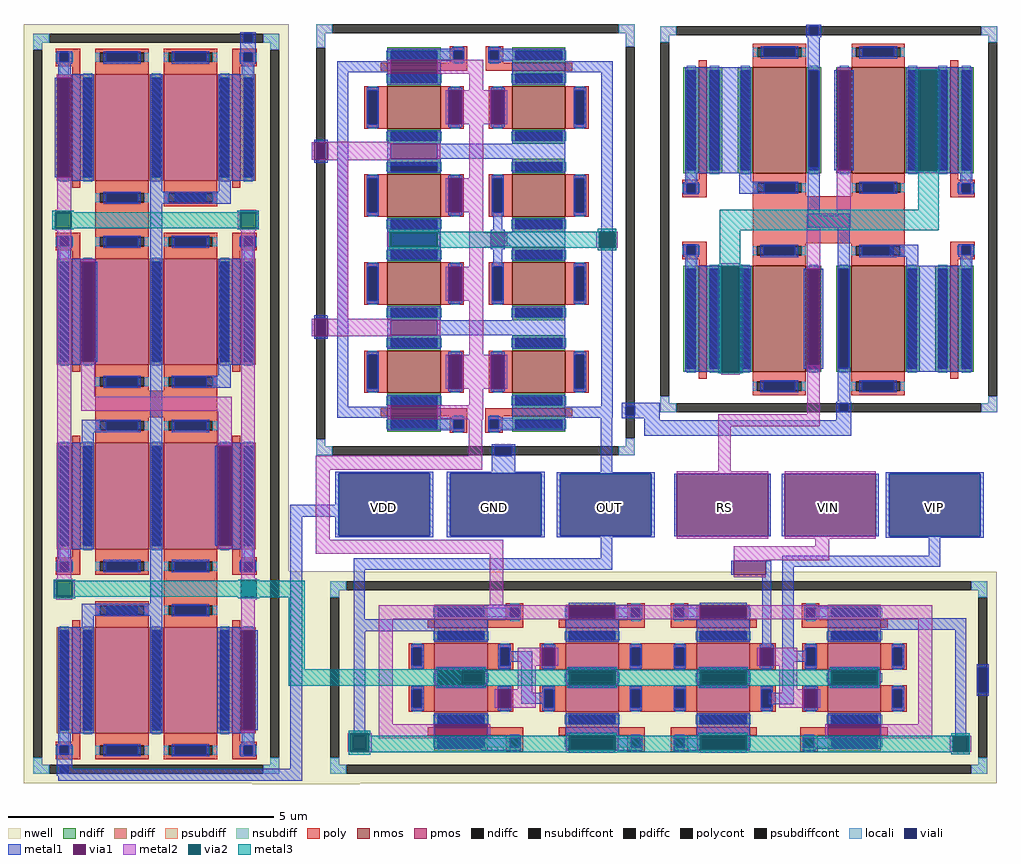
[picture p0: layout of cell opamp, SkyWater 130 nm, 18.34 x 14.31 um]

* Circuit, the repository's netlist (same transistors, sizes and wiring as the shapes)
* NGSPICE file created from opamp.ext - technology: sky130A

.subckt sky130_fd_pr__nfet_01v8_8UMB6F a_n344_n200# a_286_n200# a_86_n288# a_n86_n200#
+ a_n286_n288# a_28_n200# VSUBS
X0 a_n86_n200# a_n286_n288# a_n344_n200# VSUBS sky130_fd_pr__nfet_01v8 ad=0.58 pd=4.58 as=0.58 ps=4.58 w=2 l=1
X1 a_286_n200# a_86_n288# a_28_n200# VSUBS sky130_fd_pr__nfet_01v8 ad=0.58 pd=4.58 as=0.58 ps=4.58 w=2 l=1
.ends

.subckt sky130_fd_pr__nfet_01v8_TC9PLT a_15_n200# a_n15_n226# a_n73_n200# VSUBS
X0 a_15_n200# a_n15_n226# a_n73_n200# VSUBS sky130_fd_pr__nfet_01v8 ad=0.58 pd=4.58 as=0.58 ps=4.58 w=2 l=0.15
.ends

.subckt nmosrs GND D3 RS D4
Xsky130_fd_pr__nfet_01v8_8UMB6F_0 D4 D3 D3 RS D3 GND GND sky130_fd_pr__nfet_01v8_8UMB6F
Xsky130_fd_pr__nfet_01v8_8UMB6F_1 D3 D4 D3 GND D3 RS GND sky130_fd_pr__nfet_01v8_8UMB6F
Xsky130_fd_pr__nfet_01v8_TC9PLT_0 D4 D4 D4 GND sky130_fd_pr__nfet_01v8_TC9PLT
Xsky130_fd_pr__nfet_01v8_TC9PLT_2 D3 D3 D3 GND sky130_fd_pr__nfet_01v8_TC9PLT
Xsky130_fd_pr__nfet_01v8_TC9PLT_3 D3 D3 D3 GND sky130_fd_pr__nfet_01v8_TC9PLT
Xsky130_fd_pr__nfet_01v8_TC9PLT_4 D4 D4 D4 GND sky130_fd_pr__nfet_01v8_TC9PLT
.ends

.subckt sky130_fd_pr__pfet_01v8_BHVYY6 w_n223_n200# a_n29_n100# a_n187_n100# a_29_n197#
+ a_n129_n197# a_129_n100#
X0 a_129_n100# a_29_n197# a_n29_n100# w_n223_n200# sky130_fd_pr__pfet_01v8 ad=0.29 pd=2.58 as=0.145 ps=1.29 w=1 l=0.5
X1 a_n29_n100# a_n129_n197# a_n187_n100# w_n223_n200# sky130_fd_pr__pfet_01v8 ad=0.145 pd=1.29 as=0.29 ps=2.58 w=1 l=0.5
.ends

.subckt sky130_fd_pr__pfet_01v8_2XUZHN a_n73_n100# w_n109_n162# a_15_n100# a_n15_n126#
X0 a_15_n100# a_n15_n126# a_n73_n100# w_n109_n162# sky130_fd_pr__pfet_01v8 ad=0.29 pd=2.58 as=0.29 ps=2.58 w=1 l=0.15
.ends

.subckt pmos_dif VDD D6 OUT VIP D5 VIN
Xsky130_fd_pr__pfet_01v8_BHVYY6_2 VDD D5 OUT VIN VIP D6 sky130_fd_pr__pfet_01v8_BHVYY6
Xsky130_fd_pr__pfet_01v8_BHVYY6_3 VDD D5 D6 VIP VIN OUT sky130_fd_pr__pfet_01v8_BHVYY6
Xsky130_fd_pr__pfet_01v8_2XUZHN_0 OUT VDD OUT OUT sky130_fd_pr__pfet_01v8_2XUZHN
Xsky130_fd_pr__pfet_01v8_2XUZHN_1 D6 VDD D6 D6 sky130_fd_pr__pfet_01v8_2XUZHN
Xsky130_fd_pr__pfet_01v8_2XUZHN_2 D6 VDD D6 D6 sky130_fd_pr__pfet_01v8_2XUZHN
Xsky130_fd_pr__pfet_01v8_2XUZHN_3 OUT VDD OUT OUT sky130_fd_pr__pfet_01v8_2XUZHN
Xsky130_fd_pr__pfet_01v8_2XUZHN_4 D6 VDD D6 D6 sky130_fd_pr__pfet_01v8_2XUZHN
Xsky130_fd_pr__pfet_01v8_2XUZHN_5 OUT VDD OUT OUT sky130_fd_pr__pfet_01v8_2XUZHN
Xsky130_fd_pr__pfet_01v8_2XUZHN_6 OUT VDD OUT OUT sky130_fd_pr__pfet_01v8_2XUZHN
Xsky130_fd_pr__pfet_01v8_2XUZHN_7 D6 VDD D6 D6 sky130_fd_pr__pfet_01v8_2XUZHN
Xsky130_fd_pr__pfet_01v8_BHVYY6_0 VDD D5 OUT VIN VIP D6 sky130_fd_pr__pfet_01v8_BHVYY6
Xsky130_fd_pr__pfet_01v8_BHVYY6_1 VDD D5 D6 VIP VIN OUT sky130_fd_pr__pfet_01v8_BHVYY6
.ends

.subckt sky130_fd_pr__pfet_01v8_2ZH9AN a_15_n200# a_n15_n226# a_n73_n200# w_n109_n262#
X0 a_15_n200# a_n15_n226# a_n73_n200# w_n109_n262# sky130_fd_pr__pfet_01v8 ad=0.58 pd=4.58 as=0.58 ps=4.58 w=2 l=0.15
.ends

.subckt sky130_fd_pr__pfet_01v8_SDE6B7 a_29_n297# a_n287_n200# a_n229_n297# a_229_n200#
+ a_n29_n200# w_n323_n300#
X0 a_229_n200# a_29_n297# a_n29_n200# w_n323_n300# sky130_fd_pr__pfet_01v8 ad=0.58 pd=4.58 as=0.29 ps=2.29 w=2 l=1
X1 a_n29_n200# a_n229_n297# a_n287_n200# w_n323_n300# sky130_fd_pr__pfet_01v8 ad=0.29 pd=2.29 as=0.58 ps=4.58 w=2 l=1
.ends

.subckt pmoscs VDD D1 D2 D5
Xsky130_fd_pr__pfet_01v8_2ZH9AN_0 D1 D1 D1 VDD sky130_fd_pr__pfet_01v8_2ZH9AN
Xsky130_fd_pr__pfet_01v8_2ZH9AN_1 VDD VDD VDD VDD sky130_fd_pr__pfet_01v8_2ZH9AN
Xsky130_fd_pr__pfet_01v8_2ZH9AN_2 D5 D5 D5 VDD sky130_fd_pr__pfet_01v8_2ZH9AN
Xsky130_fd_pr__pfet_01v8_2ZH9AN_3 D1 D1 D1 VDD sky130_fd_pr__pfet_01v8_2ZH9AN
Xsky130_fd_pr__pfet_01v8_2ZH9AN_4 D2 D2 D2 VDD sky130_fd_pr__pfet_01v8_2ZH9AN
Xsky130_fd_pr__pfet_01v8_2ZH9AN_5 D2 D2 D2 VDD sky130_fd_pr__pfet_01v8_2ZH9AN
Xsky130_fd_pr__pfet_01v8_2ZH9AN_6 D5 D5 D5 VDD sky130_fd_pr__pfet_01v8_2ZH9AN
Xsky130_fd_pr__pfet_01v8_2ZH9AN_7 VDD VDD VDD VDD sky130_fd_pr__pfet_01v8_2ZH9AN
Xsky130_fd_pr__pfet_01v8_SDE6B7_0 VDD D5 D2 VDD VDD VDD sky130_fd_pr__pfet_01v8_SDE6B7
Xsky130_fd_pr__pfet_01v8_SDE6B7_1 D2 D1 D2 D2 VDD VDD sky130_fd_pr__pfet_01v8_SDE6B7
Xsky130_fd_pr__pfet_01v8_SDE6B7_2 D2 D2 D2 D1 VDD VDD sky130_fd_pr__pfet_01v8_SDE6B7
Xsky130_fd_pr__pfet_01v8_SDE6B7_3 D2 VDD VDD D5 VDD VDD sky130_fd_pr__pfet_01v8_SDE6B7
.ends

.subckt sky130_fd_pr__nfet_01v8_6H9P4D a_n73_n100# a_15_n100# a_n15_n126# VSUBS
X0 a_15_n100# a_n15_n126# a_n73_n100# VSUBS sky130_fd_pr__nfet_01v8 ad=0.29 pd=2.58 as=0.29 ps=2.58 w=1 l=0.15
.ends

.subckt sky130_fd_pr__nfet_01v8_DB328X a_360_n100# a_418_n188# a_n578_n188# a_n304_n100#
+ a_28_n100# a_n418_n100# a_246_n100# a_n636_n100# a_578_n100# a_86_n188# a_n246_n188#
+ a_n86_n100# VSUBS
X0 a_578_n100# a_418_n188# a_360_n100# VSUBS sky130_fd_pr__nfet_01v8 ad=0.29 pd=2.58 as=0.29 ps=2.58 w=1 l=0.8
X1 a_n418_n100# a_n578_n188# a_n636_n100# VSUBS sky130_fd_pr__nfet_01v8 ad=0.29 pd=2.58 as=0.29 ps=2.58 w=1 l=0.8
X2 a_n86_n100# a_n246_n188# a_n304_n100# VSUBS sky130_fd_pr__nfet_01v8 ad=0.29 pd=2.58 as=0.29 ps=2.58 w=1 l=0.8
X3 a_246_n100# a_86_n188# a_28_n100# VSUBS sky130_fd_pr__nfet_01v8 ad=0.29 pd=2.58 as=0.29 ps=2.58 w=1 l=0.8
.ends

.subckt nmos_dif D6 OUT GND
Xsky130_fd_pr__nfet_01v8_6H9P4D_0 D6 D6 D6 GND sky130_fd_pr__nfet_01v8_6H9P4D
Xsky130_fd_pr__nfet_01v8_6H9P4D_1 OUT OUT OUT GND sky130_fd_pr__nfet_01v8_6H9P4D
Xsky130_fd_pr__nfet_01v8_6H9P4D_2 OUT OUT OUT GND sky130_fd_pr__nfet_01v8_6H9P4D
Xsky130_fd_pr__nfet_01v8_6H9P4D_3 D6 D6 D6 GND sky130_fd_pr__nfet_01v8_6H9P4D
Xsky130_fd_pr__nfet_01v8_DB328X_0 GND D6 D6 GND D6 GND GND OUT OUT D6 D6 D6 GND sky130_fd_pr__nfet_01v8_DB328X
Xsky130_fd_pr__nfet_01v8_DB328X_1 GND D6 D6 GND m1_556_88# GND GND D6 D6 D6 D6 m1_556_88#
+ GND sky130_fd_pr__nfet_01v8_DB328X
.ends

.subckt opamp VDD GND OUT RS VIN VIP
Xnmosrs_0 GND nmosrs_0/D3 RS nmosrs_0/D4 nmosrs
Xpmos_dif_0 VDD pmos_dif_0/D6 OUT VIP pmoscs_0/D5 VIN pmos_dif
Xpmoscs_0 VDD pmoscs_0/D1 pmoscs_0/D2 pmoscs_0/D5 pmoscs
Xnmos_dif_0 pmos_dif_0/D6 OUT GND nmos_dif
.ends

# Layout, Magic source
magic
tech sky130A
magscale 1 2
<< nwell >>
rect 845 -2214 1250 -1412
<< viali >>
rect 2252 -825 2286 -791
rect 1758 -977 1823 -941
rect 1170 -1278 1514 -1044
rect 1590 -1278 1934 -1044
rect 2004 -1279 2348 -1045
rect 3244 -1280 3588 -1046
<< metal1 >>
rect 2236 -791 2379 -778
rect 1746 -941 1835 -935
rect 1746 -977 1758 -941
rect 1823 -977 1835 -941
rect 1746 -1038 1835 -977
rect 1158 -1044 1526 -1038
rect 1158 -1162 1170 -1044
rect 988 -1207 1170 -1162
rect 114 -2157 159 -2099
rect 988 -2157 1033 -1207
rect 1158 -1278 1170 -1207
rect 1514 -1278 1526 -1044
rect 1158 -1284 1526 -1278
rect 1578 -1044 1946 -1038
rect 2158 -1039 2200 -793
rect 2236 -825 2252 -791
rect 2286 -825 2379 -791
rect 2236 -836 2379 -825
rect 2321 -844 2379 -836
rect 3044 -844 3102 -809
rect 2321 -902 3102 -844
rect 1578 -1278 1590 -1044
rect 1934 -1278 1946 -1044
rect 1578 -1284 1946 -1278
rect 1992 -1045 2360 -1039
rect 1992 -1279 2004 -1045
rect 2348 -1279 2360 -1045
rect 3232 -1046 3600 -1040
rect 1992 -1285 2360 -1279
rect 2434 -1280 2444 -1046
rect 2788 -1280 2798 -1046
rect 2840 -1280 2850 -1046
rect 3194 -1280 3204 -1046
rect 3232 -1280 3244 -1046
rect 3588 -1280 3600 -1046
rect 2158 -1364 2200 -1285
rect 3232 -1286 3600 -1280
rect 3394 -1354 3436 -1286
rect 1227 -1406 2200 -1364
rect 1227 -1740 1269 -1406
rect 2649 -1425 2659 -1373
rect 2779 -1425 2799 -1373
rect 2766 -1694 2799 -1425
rect 2842 -1396 3436 -1354
rect 2842 -1723 2884 -1396
rect 114 -2202 1033 -2157
<< via1 >>
rect 2444 -1280 2788 -1046
rect 2850 -1280 3194 -1046
rect 2659 -1425 2779 -1373
<< metal2 >>
rect 1660 -978 1712 -788
rect 2936 -821 2982 -637
rect 1084 -1030 1712 -978
rect 2601 -867 2982 -821
rect 1084 -1294 1136 -1030
rect 2601 -1036 2647 -867
rect 2444 -1046 2788 -1036
rect 2444 -1290 2788 -1280
rect 2850 -1046 3194 -1036
rect 2850 -1290 3194 -1280
rect 1084 -1346 1791 -1294
rect 2966 -1318 3019 -1290
rect 1739 -1582 1791 -1346
rect 2659 -1371 3019 -1318
rect 2659 -1373 2779 -1371
rect 2659 -1435 2779 -1425
<< metal3 >>
rect 789 -1510 1043 -1449
rect 982 -1782 1043 -1510
rect 982 -1843 1633 -1782
use nmos_dif  nmos_dif_0
transform 0 1 1266 -1 0 473
box -176 -198 1448 1019
use nmosrs  nmosrs_0
transform 1 0 2673 0 1 -1
box -292 -819 978 647
use pmos_dif  pmos_dif_0
transform 0 1 2419 -1 0 -1590
box -176 -1316 622 1231
use pmoscs  pmoscs_0
transform 1 0 160 0 1 -1522
box -176 -690 822 2170
<< labels >>
flabel via1 3016 -1171 3016 -1171 0 FreeSans 480 0 0 0 VIN
port 4 nsew
flabel viali 3416 -1173 3416 -1173 0 FreeSans 480 0 0 0 VIP
port 5 nsew
flabel via1 2624 -1172 2624 -1172 0 FreeSans 480 0 0 0 RS
port 3 nsew
flabel viali 2189 -1172 2189 -1172 0 FreeSans 480 0 0 0 OUT
port 2 nsew
flabel viali 1757 -1173 1757 -1173 0 FreeSans 480 0 0 0 GND
port 1 nsew
flabel viali 1339 -1173 1339 -1173 0 FreeSans 480 0 0 0 VDD
port 0 nsew
<< end >>

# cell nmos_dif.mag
magic
tech sky130A
magscale 1 2
<< psubdiff >>
rect -176 985 -90 1019
rect 1385 985 1448 1019
rect -176 959 -142 985
rect 1414 959 1448 985
rect -176 -146 -142 -120
rect 1414 -146 1448 -120
rect -176 -180 -87 -146
rect 1388 -180 1448 -146
<< psubdiffcont >>
rect -90 985 1385 1019
rect -176 -120 -142 959
rect 1414 -120 1448 959
rect -87 -180 1388 -146
<< poly >>
rect -30 524 0 532
rect -92 508 0 524
rect -92 474 -76 508
rect -42 474 0 508
rect -92 458 0 474
rect 1272 523 1302 558
rect 1272 507 1364 523
rect 1272 473 1314 507
rect 1348 473 1364 507
rect 1272 457 1364 473
rect -92 372 0 388
rect -92 338 -76 372
rect -42 338 0 372
rect -92 322 0 338
rect -30 314 0 322
rect 1272 372 1364 388
rect 1272 338 1314 372
rect 1348 338 1364 372
rect 1272 322 1364 338
rect 1272 314 1302 322
<< polycont >>
rect -76 474 -42 508
rect 1314 473 1348 507
rect -76 338 -42 372
rect 1314 338 1348 372
<< locali >>
rect -176 985 -90 1019
rect 1385 985 1448 1019
rect -176 959 -142 985
rect 1414 959 1448 985
rect -76 508 -42 562
rect -92 474 -76 508
rect -42 474 -26 508
rect 1314 507 1348 563
rect 1298 473 1314 507
rect 1348 473 1364 507
rect -92 338 -76 372
rect -42 338 -26 372
rect 1298 338 1314 372
rect 1348 338 1364 372
rect -76 282 -42 338
rect 1313 282 1348 338
rect -176 -146 -142 -120
rect 1414 -146 1448 -120
rect -176 -180 -87 -146
rect 1388 -180 1448 -146
<< viali >>
rect -76 474 -42 508
rect 1314 473 1348 507
rect -76 338 -42 372
rect 1314 338 1348 372
rect 933 -146 998 -144
rect 277 -180 329 -146
rect 933 -180 998 -146
rect 933 -181 998 -180
<< metal1 >>
rect 604 936 610 941
rect -36 894 610 936
rect -36 758 6 894
rect 604 889 610 894
rect 662 936 668 941
rect 662 894 1308 936
rect 662 889 668 894
rect 1266 758 1308 894
rect -82 558 52 758
rect 224 558 384 758
rect 556 558 716 758
rect 888 558 1048 758
rect 1220 558 1354 758
rect -82 514 -36 558
rect -88 508 -30 514
rect -88 474 -76 508
rect -42 474 -30 508
rect 64 477 74 529
rect 202 477 212 529
rect -88 468 -30 474
rect -88 372 -30 378
rect -88 338 -76 372
rect -42 338 -30 372
rect -88 332 -30 338
rect -82 288 -36 332
rect 64 317 74 369
rect 202 317 212 369
rect 275 288 331 558
rect 610 529 662 558
rect 600 520 610 529
rect 540 486 610 520
rect 600 477 610 486
rect 662 520 672 529
rect 662 486 735 520
rect 662 477 672 486
rect 396 317 406 369
rect 534 317 544 369
rect 728 317 738 369
rect 866 317 876 369
rect 940 288 996 558
rect 1060 477 1070 529
rect 1198 477 1208 529
rect 1308 513 1354 558
rect 1302 507 1360 513
rect 1302 473 1314 507
rect 1348 473 1360 507
rect 1302 467 1360 473
rect 1302 372 1360 378
rect 1060 317 1070 369
rect 1198 317 1208 369
rect 1302 338 1314 372
rect 1348 338 1360 372
rect 1302 332 1360 338
rect 1307 289 1354 332
rect -82 276 52 288
rect -82 100 -41 276
rect 11 100 52 276
rect -82 88 52 100
rect 224 276 358 288
rect 224 100 275 276
rect 332 100 358 276
rect 224 88 358 100
rect 556 88 716 288
rect 888 276 1048 288
rect 888 100 940 276
rect 996 100 1048 276
rect 888 88 1048 100
rect 1220 276 1354 289
rect 1220 100 1261 276
rect 1313 100 1354 276
rect 1220 88 1354 100
rect -36 -60 5 88
rect 1266 -60 1307 88
rect -36 -101 1307 -60
rect 260 -188 270 -136
rect 336 -188 346 -136
rect 924 -138 934 -136
rect 921 -144 934 -138
rect 921 -181 933 -144
rect 921 -187 934 -181
rect 924 -188 934 -187
rect 1000 -188 1010 -136
<< via1 >>
rect 610 889 662 941
rect 74 477 202 529
rect 74 317 202 369
rect 610 477 662 529
rect 406 317 534 369
rect 738 317 866 369
rect 1070 477 1198 529
rect 1070 317 1198 369
rect -41 100 11 276
rect 275 100 332 276
rect 940 100 996 276
rect 1261 100 1313 276
rect 270 -146 336 -136
rect 270 -180 277 -146
rect 277 -180 329 -146
rect 329 -180 336 -146
rect 270 -188 336 -180
rect 934 -144 1000 -136
rect 934 -181 998 -144
rect 998 -181 1000 -144
rect 934 -188 1000 -181
<< metal2 >>
rect 606 945 666 955
rect 606 875 666 885
rect 74 529 202 539
rect 74 448 202 477
rect 610 529 662 539
rect 1070 529 1198 539
rect 662 477 665 486
rect 610 448 665 477
rect 1070 448 1198 477
rect -41 396 1313 448
rect -41 276 11 396
rect 74 369 202 396
rect 74 307 202 317
rect 406 369 534 396
rect 406 307 534 317
rect 738 369 866 396
rect 738 307 866 317
rect 1070 369 1198 396
rect 1070 307 1198 317
rect 275 276 332 286
rect -41 90 11 100
rect 274 100 275 110
rect 274 95 332 100
rect 608 276 664 286
rect 940 276 996 286
rect 267 -60 337 95
rect 608 90 664 100
rect 934 100 940 105
rect 1261 276 1313 396
rect 996 100 1000 105
rect 934 -60 1000 100
rect 1261 90 1313 100
rect 267 -101 1000 -60
rect 267 -136 337 -101
rect 267 -167 270 -136
rect 336 -167 337 -136
rect 934 -136 1000 -101
rect 270 -198 336 -188
rect 934 -198 1000 -188
<< via2 >>
rect 606 941 666 945
rect 606 889 610 941
rect 610 889 662 941
rect 662 889 666 941
rect 606 885 666 889
rect 608 100 664 276
<< metal3 >>
rect 596 945 676 950
rect 596 885 606 945
rect 666 885 676 945
rect 596 880 676 885
rect 606 281 666 880
rect 598 276 674 281
rect 598 100 608 276
rect 664 100 674 276
rect 598 95 674 100
use sky130_fd_pr__nfet_01v8_6H9P4D  sky130_fd_pr__nfet_01v8_6H9P4D_0
transform 1 0 -15 0 1 188
box -73 -126 73 126
use sky130_fd_pr__nfet_01v8_6H9P4D  sky130_fd_pr__nfet_01v8_6H9P4D_1
transform 1 0 -15 0 1 658
box -73 -126 73 126
use sky130_fd_pr__nfet_01v8_6H9P4D  sky130_fd_pr__nfet_01v8_6H9P4D_2
transform 1 0 1287 0 1 658
box -73 -126 73 126
use sky130_fd_pr__nfet_01v8_6H9P4D  sky130_fd_pr__nfet_01v8_6H9P4D_3
transform 1 0 1287 0 1 188
box -73 -126 73 126
use sky130_fd_pr__nfet_01v8_DB328X  sky130_fd_pr__nfet_01v8_DB328X_0
transform 1 0 636 0 1 658
box -636 -188 636 188
use sky130_fd_pr__nfet_01v8_DB328X  sky130_fd_pr__nfet_01v8_DB328X_1
transform 1 0 636 0 1 188
box -636 -188 636 188
<< labels >>
flabel metal2 963 -23 963 -23 0 FreeSans 800 0 0 0 GND
port 2 nsew
flabel metal3 635 331 635 331 0 FreeSans 800 0 0 0 OUT
port 1 nsew
flabel metal2 133 428 133 428 0 FreeSans 800 0 0 0 D6
port 0 nsew
<< end >>

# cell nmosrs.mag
magic
tech sky130A
magscale 1 2
<< psubdiff >>
rect -292 607 -232 641
rect 918 607 978 641
rect -292 581 -258 607
rect 944 581 978 607
rect -292 -779 -258 -753
rect 944 -779 978 -753
rect -292 -813 -232 -779
rect 918 -813 978 -779
<< psubdiffcont >>
rect -232 607 918 641
rect -292 -753 -258 581
rect 944 -753 978 581
rect -232 -813 918 -779
<< poly >>
rect -146 64 -116 88
rect -208 48 -116 64
rect -208 14 -192 48
rect -158 14 -116 48
rect -208 -2 -116 14
rect 802 64 832 88
rect 802 48 894 64
rect 802 14 844 48
rect 878 14 894 48
rect -208 -186 -116 -170
rect 58 -175 630 2
rect 802 -2 894 14
rect -208 -220 -192 -186
rect -158 -220 -116 -186
rect -208 -236 -116 -220
rect -146 -260 -116 -236
rect 802 -186 894 -170
rect 802 -220 844 -186
rect 878 -220 894 -186
rect 802 -236 894 -220
rect 802 -260 832 -236
<< polycont >>
rect -192 14 -158 48
rect 844 14 878 48
rect -192 -220 -158 -186
rect 844 -220 878 -186
<< locali >>
rect -292 607 -232 641
rect 918 607 978 641
rect -292 581 -258 607
rect 944 581 978 607
rect -192 48 -158 88
rect 844 48 878 91
rect -208 14 -192 48
rect -158 14 -142 48
rect 828 14 844 48
rect 878 14 894 48
rect -208 -220 -192 -186
rect -158 -220 -142 -186
rect 828 -220 844 -186
rect 878 -220 894 -186
rect -192 -260 -158 -220
rect 844 -260 878 -220
rect -292 -779 -258 -753
rect 944 -779 978 -753
rect -292 -813 -232 -779
rect 918 -813 978 -779
<< viali >>
rect 270 607 304 641
rect -192 14 -158 48
rect 844 14 878 48
rect -192 -220 -158 -186
rect 844 -220 878 -186
rect 383 -813 417 -779
<< metal1 >>
rect 258 641 316 647
rect 258 607 270 641
rect 304 607 316 641
rect 258 601 316 607
rect -198 88 52 488
rect 264 476 309 601
rect -198 54 -152 88
rect 6 56 52 88
rect -204 48 -146 54
rect -204 14 -192 48
rect -158 14 -146 48
rect -204 8 -146 14
rect 6 10 103 56
rect 265 -73 310 111
rect 365 100 375 476
rect 427 100 437 476
rect 636 475 884 488
rect 636 98 680 475
rect 752 98 884 475
rect 636 88 884 98
rect 838 54 884 88
rect 832 48 890 54
rect 832 14 844 48
rect 878 14 890 48
rect 832 8 890 14
rect 377 -73 422 -64
rect 265 -118 422 -73
rect -204 -186 -146 -180
rect -204 -220 -192 -186
rect -158 -220 -146 -186
rect -204 -226 -146 -220
rect -198 -260 -152 -226
rect -198 -262 52 -260
rect -198 -660 -62 -262
rect -72 -661 -62 -660
rect 9 -660 52 -262
rect 377 -267 422 -118
rect 574 -227 681 -182
rect 832 -186 890 -180
rect 832 -220 844 -186
rect 878 -220 890 -186
rect 832 -226 890 -220
rect 636 -260 681 -227
rect 838 -260 884 -226
rect 250 -648 260 -272
rect 312 -648 322 -272
rect 9 -661 19 -660
rect 377 -773 424 -645
rect 636 -660 884 -260
rect 371 -779 429 -773
rect 371 -813 383 -779
rect 417 -813 429 -779
rect 371 -819 429 -813
<< via1 >>
rect 375 100 427 476
rect 680 98 752 475
rect -62 -661 9 -262
rect 260 -648 312 -272
<< metal2 >>
rect 375 476 427 486
rect 374 100 375 110
rect 374 90 427 100
rect 680 475 752 485
rect 374 -65 426 90
rect 680 88 752 98
rect 260 -117 426 -65
rect -62 -262 9 -252
rect 260 -272 312 -117
rect 260 -658 312 -648
rect -62 -671 9 -661
<< via2 >>
rect 680 98 752 475
rect -62 -269 7 -262
rect -62 -287 8 -269
rect -62 -661 9 -287
<< metal3 >>
rect 670 475 762 480
rect 670 98 680 475
rect 752 98 762 475
rect 670 93 762 98
rect 680 -50 757 93
rect -67 -127 757 -50
rect -67 -257 10 -127
rect -72 -262 19 -257
rect -72 -661 -62 -262
rect 7 -269 19 -262
rect 8 -287 19 -269
rect 9 -661 19 -287
rect -72 -666 19 -661
use sky130_fd_pr__nfet_01v8_8UMB6F  sky130_fd_pr__nfet_01v8_8UMB6F_0
transform 1 0 343 0 1 -460
box -344 -288 344 288
use sky130_fd_pr__nfet_01v8_8UMB6F  sky130_fd_pr__nfet_01v8_8UMB6F_1
transform 1 0 344 0 1 288
box -344 -288 344 288
use sky130_fd_pr__nfet_01v8_TC9PLT  sky130_fd_pr__nfet_01v8_TC9PLT_0
transform 1 0 817 0 1 288
box -73 -226 73 226
use sky130_fd_pr__nfet_01v8_TC9PLT  sky130_fd_pr__nfet_01v8_TC9PLT_2
transform 1 0 817 0 1 -460
box -73 -226 73 226
use sky130_fd_pr__nfet_01v8_TC9PLT  sky130_fd_pr__nfet_01v8_TC9PLT_3
transform 1 0 -131 0 1 288
box -73 -226 73 226
use sky130_fd_pr__nfet_01v8_TC9PLT  sky130_fd_pr__nfet_01v8_TC9PLT_4
transform 1 0 -131 0 1 -460
box -73 -226 73 226
<< labels >>
flabel metal1 s 285 579 285 579 0 FreeSans 800 0 0 0 GND
port 0 nsew
flabel metal3 s 721 47 721 47 0 FreeSans 800 0 0 0 D4
port 3 nsew
flabel metal2 s 396 47 396 47 0 FreeSans 800 0 0 0 RS
port 2 nsew
flabel metal1 s 27 46 27 46 0 FreeSans 800 0 0 0 D3
port 1 nsew
<< end >>

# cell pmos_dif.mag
magic
tech sky130A
magscale 1 2
<< nwell >>
rect -176 504 622 1231
rect -176 495 281 504
rect 323 495 622 504
rect -176 -1316 622 495
<< nsubdiff >>
rect -140 1161 -80 1195
rect 526 1161 586 1195
rect -140 1135 -106 1161
rect 552 1135 586 1161
rect -140 -1246 -106 -1220
rect 552 -1246 586 -1220
rect -140 -1280 -80 -1246
rect 526 -1280 586 -1246
<< nsubdiffcont >>
rect -80 1161 526 1195
rect -140 -1220 -106 1135
rect 552 -1220 586 1135
rect -80 -1280 526 -1246
<< poly >>
rect 6 562 36 595
rect -56 546 36 562
rect -56 512 -40 546
rect -6 512 36 546
rect -56 496 36 512
rect 410 556 440 585
rect 410 540 502 556
rect 410 506 452 540
rect 486 506 502 540
rect 410 490 502 506
rect 6 68 36 90
rect -56 52 36 68
rect -56 18 -40 52
rect -6 18 36 52
rect -56 2 36 18
rect 410 69 440 96
rect 410 53 502 69
rect 410 19 452 53
rect 486 19 502 53
rect -56 -112 36 -96
rect 94 -104 194 8
rect 252 -103 352 9
rect 410 3 502 19
rect -56 -146 -40 -112
rect -6 -146 36 -112
rect -56 -162 36 -146
rect 6 -194 36 -162
rect 410 -112 502 -96
rect 410 -146 452 -112
rect 486 -146 502 -112
rect 410 -162 502 -146
rect 410 -188 440 -162
rect -56 -569 36 -553
rect -56 -603 -40 -569
rect -6 -603 36 -569
rect -56 -619 36 -603
rect 6 -680 36 -619
rect 410 -569 502 -553
rect 410 -603 452 -569
rect 486 -603 502 -569
rect 410 -619 502 -603
rect 410 -672 441 -619
<< polycont >>
rect -40 512 -6 546
rect 452 506 486 540
rect -40 18 -6 52
rect 452 19 486 53
rect -40 -146 -6 -112
rect 452 -146 486 -112
rect -40 -603 -6 -569
rect 452 -603 486 -569
<< locali >>
rect -140 1161 -80 1195
rect 526 1161 586 1195
rect -140 1135 -106 1161
rect 552 1135 586 1161
rect -40 546 -6 595
rect -56 512 -40 546
rect -6 512 10 546
rect 452 540 486 609
rect 436 506 452 540
rect 486 506 502 540
rect -40 52 -6 107
rect 452 53 486 112
rect -56 18 -40 52
rect -6 18 10 52
rect 436 19 452 53
rect 486 19 502 53
rect -56 -146 -40 -112
rect -6 -146 10 -112
rect 436 -146 452 -112
rect 486 -146 502 -112
rect -40 -200 -6 -146
rect 452 -198 486 -146
rect -56 -603 -40 -569
rect -6 -603 10 -569
rect 436 -603 452 -569
rect 486 -603 502 -569
rect -40 -693 -6 -603
rect 452 -695 486 -603
rect -140 -1246 -106 -1220
rect 552 -1246 586 -1220
rect -140 -1280 -80 -1246
rect 526 -1280 586 -1246
<< viali >>
rect 185 1161 280 1195
rect -40 512 -6 546
rect 452 506 486 540
rect -40 18 -6 52
rect 452 19 486 53
rect -40 -146 -6 -112
rect 452 -146 486 -112
rect -40 -603 -6 -569
rect 452 -603 486 -569
<< metal1 >>
rect 173 1195 292 1201
rect 173 1161 185 1195
rect 280 1161 292 1195
rect 173 1155 292 1161
rect 440 1115 446 1120
rect 0 1073 446 1115
rect 0 794 42 1073
rect 440 1068 446 1073
rect 498 1068 504 1120
rect -46 594 88 794
rect 187 606 197 782
rect 249 606 259 782
rect 358 594 399 794
rect 451 594 492 794
rect -46 552 4 594
rect -52 546 6 552
rect -52 512 -40 546
rect -6 512 6 546
rect -52 506 6 512
rect 122 465 164 513
rect 258 504 268 556
rect 336 504 346 556
rect 442 546 492 594
rect 440 540 498 546
rect 440 506 452 540
rect 486 506 498 540
rect 440 500 498 506
rect 122 423 323 465
rect 100 338 110 390
rect 178 338 188 390
rect 281 371 323 423
rect -46 288 88 300
rect 358 288 492 300
rect -59 112 -49 288
rect 3 112 88 288
rect 187 112 197 288
rect 249 112 259 288
rect 358 112 443 288
rect 495 112 505 288
rect -52 100 88 112
rect 358 100 498 112
rect -52 52 6 100
rect -52 18 -40 52
rect -6 18 6 52
rect -52 12 6 18
rect 440 53 498 100
rect 440 19 452 53
rect 486 19 498 53
rect 440 13 498 19
rect -52 -112 6 -106
rect -52 -146 -40 -112
rect -6 -146 6 -112
rect -52 -194 6 -146
rect 440 -112 498 -106
rect 440 -146 452 -112
rect 486 -146 498 -112
rect 440 -194 498 -146
rect -52 -206 88 -194
rect 358 -206 498 -194
rect -59 -382 -49 -206
rect 3 -382 88 -206
rect 187 -382 197 -206
rect 249 -382 259 -206
rect 358 -382 443 -206
rect 495 -382 505 -206
rect -46 -394 88 -382
rect 358 -394 492 -382
rect 100 -484 110 -432
rect 178 -484 188 -432
rect 280 -520 321 -478
rect 123 -561 321 -520
rect -52 -569 6 -563
rect -52 -603 -40 -569
rect -6 -603 6 -569
rect -52 -688 6 -603
rect 123 -607 164 -561
rect 440 -569 498 -563
rect 258 -650 268 -598
rect 336 -650 346 -598
rect 440 -603 452 -569
rect 486 -603 498 -569
rect 440 -688 498 -603
rect -52 -698 88 -688
rect -46 -888 88 -698
rect 187 -876 197 -700
rect 249 -876 259 -700
rect 358 -888 399 -688
rect 451 -711 498 -688
rect 451 -888 492 -711
rect 4 -1148 48 -888
rect 436 -1148 442 -1144
rect 4 -1192 442 -1148
rect 436 -1196 442 -1192
rect 494 -1196 500 -1144
<< via1 >>
rect 446 1068 498 1120
rect 197 606 249 782
rect 399 594 451 794
rect 268 504 336 556
rect 110 338 178 390
rect -49 112 3 288
rect 197 112 249 288
rect 443 112 495 288
rect -49 -382 3 -206
rect 197 -382 249 -206
rect 443 -382 495 -206
rect 110 -484 178 -432
rect 268 -650 336 -598
rect 197 -876 249 -700
rect 399 -888 451 -688
rect 442 -1196 494 -1144
<< metal2 >>
rect 442 1124 502 1134
rect 442 1054 502 1064
rect -49 935 451 987
rect -49 288 3 935
rect 399 794 451 935
rect 195 782 251 792
rect 195 596 251 606
rect 399 584 451 594
rect 268 556 336 566
rect 268 479 336 504
rect 110 411 336 479
rect 110 390 178 411
rect 110 328 178 338
rect -49 -206 3 112
rect 195 288 251 298
rect 195 102 251 112
rect 441 288 497 298
rect 441 102 497 112
rect -49 -1045 3 -382
rect 195 -206 251 -196
rect 195 -392 251 -382
rect 441 -206 497 -196
rect 441 -392 497 -382
rect 110 -432 178 -422
rect 110 -507 178 -484
rect 110 -575 336 -507
rect 268 -598 336 -575
rect 268 -660 336 -650
rect 399 -688 451 -678
rect 195 -700 251 -690
rect 195 -886 251 -876
rect 399 -1045 451 -888
rect -49 -1097 451 -1045
rect 433 -1135 503 -1125
rect 433 -1215 503 -1205
<< via2 >>
rect 442 1120 502 1124
rect 442 1068 446 1120
rect 446 1068 498 1120
rect 498 1068 502 1120
rect 442 1064 502 1068
rect 195 606 197 782
rect 197 606 249 782
rect 249 606 251 782
rect 195 112 197 288
rect 197 112 249 288
rect 249 112 251 288
rect 441 112 443 288
rect 443 112 495 288
rect 495 112 497 288
rect 195 -382 197 -206
rect 197 -382 249 -206
rect 249 -382 251 -206
rect 441 -382 443 -206
rect 443 -382 495 -206
rect 495 -382 497 -206
rect 195 -876 197 -700
rect 197 -876 249 -700
rect 249 -876 251 -700
rect 433 -1144 503 -1135
rect 433 -1196 442 -1144
rect 442 -1196 494 -1144
rect 494 -1196 503 -1144
rect 433 -1205 503 -1196
<< metal3 >>
rect 432 1124 512 1129
rect 432 1064 442 1124
rect 502 1064 512 1124
rect 432 1059 512 1064
rect 185 782 261 787
rect 185 606 195 782
rect 251 606 261 782
rect 185 601 261 606
rect 194 293 254 601
rect 442 293 504 1059
rect 185 288 261 293
rect 185 112 195 288
rect 251 112 261 288
rect 185 107 261 112
rect 431 288 507 293
rect 431 112 441 288
rect 497 112 507 288
rect 431 107 507 112
rect 194 -201 254 107
rect 442 -201 504 107
rect 185 -206 261 -201
rect 185 -382 195 -206
rect 251 -382 261 -206
rect 185 -387 261 -382
rect 431 -206 507 -201
rect 431 -382 441 -206
rect 497 -382 507 -206
rect 431 -387 507 -382
rect 194 -695 254 -387
rect 185 -700 261 -695
rect 185 -876 195 -700
rect 251 -876 261 -700
rect 185 -881 261 -876
rect 442 -1130 504 -387
rect 423 -1135 513 -1130
rect 423 -1205 433 -1135
rect 503 -1205 513 -1135
rect 423 -1210 513 -1205
use sky130_fd_pr__pfet_01v8_2XUZHN  sky130_fd_pr__pfet_01v8_2XUZHN_0
transform 1 0 425 0 1 200
box -109 -162 109 162
use sky130_fd_pr__pfet_01v8_2XUZHN  sky130_fd_pr__pfet_01v8_2XUZHN_1
transform 1 0 21 0 1 200
box -109 -162 109 162
use sky130_fd_pr__pfet_01v8_2XUZHN  sky130_fd_pr__pfet_01v8_2XUZHN_2
transform 1 0 425 0 1 -788
box -109 -162 109 162
use sky130_fd_pr__pfet_01v8_2XUZHN  sky130_fd_pr__pfet_01v8_2XUZHN_3
transform 1 0 21 0 1 -788
box -109 -162 109 162
use sky130_fd_pr__pfet_01v8_2XUZHN  sky130_fd_pr__pfet_01v8_2XUZHN_4
transform 1 0 21 0 1 -294
box -109 -162 109 162
use sky130_fd_pr__pfet_01v8_2XUZHN  sky130_fd_pr__pfet_01v8_2XUZHN_5
transform 1 0 425 0 1 -294
box -109 -162 109 162
use sky130_fd_pr__pfet_01v8_2XUZHN  sky130_fd_pr__pfet_01v8_2XUZHN_6
transform 1 0 21 0 1 694
box -109 -162 109 162
use sky130_fd_pr__pfet_01v8_2XUZHN  sky130_fd_pr__pfet_01v8_2XUZHN_7
transform 1 0 425 0 1 694
box -109 -162 109 162
use sky130_fd_pr__pfet_01v8_BHVYY6  sky130_fd_pr__pfet_01v8_BHVYY6_0
transform 1 0 223 0 1 -788
box -223 -200 223 200
use sky130_fd_pr__pfet_01v8_BHVYY6  sky130_fd_pr__pfet_01v8_BHVYY6_1
transform 1 0 223 0 1 200
box -223 -200 223 200
use sky130_fd_pr__pfet_01v8_BHVYY6  sky130_fd_pr__pfet_01v8_BHVYY6_2
transform 1 0 223 0 1 694
box -223 -200 223 200
use sky130_fd_pr__pfet_01v8_BHVYY6  sky130_fd_pr__pfet_01v8_BHVYY6_3
transform 1 0 223 0 1 -294
box -223 -200 223 200
<< labels >>
flabel viali 222 1177 222 1177 0 FreeSans 800 0 0 0 VDD
port 0 nsew
flabel metal2 123 959 123 959 0 FreeSans 800 0 0 0 D6
port 1 nsew
flabel metal3 469 1013 469 1013 0 FreeSans 800 0 0 0 OUT
port 2 nsew
flabel metal1 142 491 142 491 0 FreeSans 800 0 0 0 VIP
port 3 nsew
flabel metal3 221 318 221 318 0 FreeSans 800 0 0 0 D5
port 4 nsew
flabel metal2 301 -577 301 -577 0 FreeSans 800 0 0 0 VIN
port 5 nsew
<< end >>

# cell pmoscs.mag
magic
tech sky130A
magscale 1 2
<< nwell >>
rect -176 -690 822 2170
<< nsubdiff >>
rect -140 2100 -80 2134
rect 726 2100 786 2134
rect -140 2074 -106 2100
rect 752 2074 786 2100
rect -140 -620 -106 -594
rect 752 -620 786 -594
rect -140 -654 -80 -620
rect 726 -654 786 -620
<< nsubdiffcont >>
rect -80 2100 726 2134
rect -140 -594 -106 2074
rect 752 -594 786 2074
rect -80 -654 726 -620
<< poly >>
rect -56 2062 36 2078
rect -56 2028 -40 2062
rect -6 2028 36 2062
rect -56 2012 36 2028
rect 6 1981 36 2012
rect 610 2062 702 2078
rect 610 2028 652 2062
rect 686 2028 702 2062
rect 610 2012 702 2028
rect 610 2004 640 2012
rect -56 1368 36 1384
rect 94 1383 294 1485
rect -56 1334 -40 1368
rect -6 1334 36 1368
rect -56 1318 36 1334
rect 6 1287 36 1318
rect 610 1368 702 1384
rect 610 1334 652 1368
rect 686 1334 702 1368
rect 610 1318 702 1334
rect 610 1287 640 1318
rect 94 690 552 790
rect 6 162 36 193
rect -56 146 36 162
rect -56 112 -40 146
rect -6 112 36 146
rect -56 96 36 112
rect 610 162 640 193
rect 610 146 702 162
rect 610 112 652 146
rect 686 112 702 146
rect 610 96 702 112
rect 352 -4 552 96
rect 6 -532 36 -501
rect -56 -548 36 -532
rect -56 -582 -40 -548
rect -6 -582 36 -548
rect -56 -598 36 -582
rect 610 -532 640 -501
rect 610 -548 702 -532
rect 610 -582 652 -548
rect 686 -582 702 -548
rect 610 -598 702 -582
<< polycont >>
rect -40 2028 -6 2062
rect 652 2028 686 2062
rect -40 1334 -6 1368
rect 652 1334 686 1368
rect -40 112 -6 146
rect 652 112 686 146
rect -40 -582 -6 -548
rect 652 -582 686 -548
<< locali >>
rect -140 2100 -80 2134
rect 726 2100 786 2134
rect -140 2074 -106 2100
rect 752 2074 786 2100
rect -56 2028 -40 2062
rect -6 2028 10 2062
rect 636 2028 652 2062
rect 686 2028 702 2062
rect -40 1981 -6 2028
rect 652 1975 686 2028
rect -56 1334 -40 1368
rect -6 1334 10 1368
rect 636 1334 652 1368
rect 686 1334 702 1368
rect -40 1287 -6 1334
rect 652 1287 686 1334
rect -40 146 -6 193
rect 652 146 686 193
rect -56 112 -40 146
rect -6 112 10 146
rect 636 112 652 146
rect 686 112 702 146
rect -40 -548 -6 -501
rect 652 -548 686 -501
rect -56 -582 -40 -548
rect -6 -582 10 -548
rect 636 -582 652 -548
rect 686 -582 702 -548
rect -140 -620 -106 -594
rect 752 -620 786 -594
rect -140 -654 -80 -620
rect 726 -654 786 -620
<< viali >>
rect 652 2100 686 2134
rect -40 2028 -6 2062
rect 652 2028 686 2062
rect -40 1334 -6 1368
rect 652 1334 686 1368
rect -40 112 -6 146
rect 652 112 686 146
rect -40 -582 -6 -548
rect 652 -582 686 -548
rect -40 -654 -6 -620
<< metal1 >>
rect 640 2134 698 2140
rect 640 2100 652 2134
rect 686 2100 698 2134
rect -52 2062 6 2068
rect -52 2028 -40 2062
rect -6 2028 6 2062
rect -52 2022 6 2028
rect 640 2062 698 2100
rect 640 2028 652 2062
rect 686 2028 698 2062
rect 640 2022 698 2028
rect -47 1981 0 2022
rect 646 1981 693 2022
rect -47 1969 88 1981
rect -59 1593 -49 1969
rect 3 1593 88 1969
rect -46 1581 88 1593
rect 300 1540 346 1981
rect 558 1968 693 1981
rect 558 1581 692 1968
rect 558 1540 604 1581
rect 300 1494 604 1540
rect -52 1368 6 1374
rect -52 1334 -40 1368
rect -6 1334 6 1368
rect -52 1328 6 1334
rect -47 1287 0 1328
rect -40 1276 94 1287
rect -40 1275 101 1276
rect -40 899 39 1275
rect 91 899 101 1275
rect -40 887 94 899
rect 42 634 134 680
rect 42 593 88 634
rect -46 193 88 593
rect -47 152 0 193
rect -52 146 6 152
rect -52 112 -40 146
rect -6 112 6 146
rect -52 106 6 112
rect 300 -13 346 1494
rect 640 1368 698 1374
rect 640 1334 652 1368
rect 686 1334 698 1368
rect 640 1328 698 1334
rect 646 1287 693 1328
rect 558 911 692 1287
rect 557 887 692 911
rect 557 846 603 887
rect 515 800 603 846
rect 558 582 692 593
rect 545 205 555 582
rect 607 205 692 582
rect 558 193 692 205
rect 646 152 693 193
rect 640 146 698 152
rect 640 112 652 146
rect 686 112 698 146
rect 640 106 698 112
rect 42 -59 346 -13
rect 42 -101 88 -59
rect -47 -109 88 -101
rect -47 -110 87 -109
rect -47 -501 88 -110
rect 300 -501 346 -59
rect 552 -113 688 -101
rect 552 -489 643 -113
rect 695 -489 705 -113
rect 552 -501 693 -489
rect -47 -542 0 -501
rect 646 -542 693 -501
rect -52 -548 6 -542
rect -52 -582 -40 -548
rect -6 -582 6 -548
rect -52 -620 6 -582
rect 640 -548 698 -542
rect 640 -582 652 -548
rect 686 -582 698 -548
rect 640 -588 698 -582
rect -52 -654 -40 -620
rect -6 -654 6 -620
rect -52 -660 6 -654
<< via1 >>
rect -49 1593 3 1969
rect 39 899 91 1275
rect 555 205 607 582
rect 643 -489 695 -113
<< metal2 >>
rect -49 1969 3 1979
rect -49 1472 3 1593
rect -58 1462 3 1472
rect 639 1462 699 1472
rect 2 1402 3 1462
rect 630 1402 639 1462
rect 699 1402 708 1462
rect -58 1392 3 1402
rect 639 1392 699 1402
rect -49 83 3 1392
rect 39 1275 91 1285
rect 91 899 92 912
rect 39 889 92 899
rect 40 767 92 889
rect 40 715 607 767
rect 555 582 607 715
rect 555 195 607 205
rect 643 83 695 1392
rect -53 73 7 83
rect 641 73 701 83
rect -62 13 -53 73
rect 7 13 16 73
rect -53 3 7 13
rect 641 3 701 13
rect 643 -113 695 3
rect 643 -499 695 -489
<< via2 >>
rect -58 1402 2 1462
rect 639 1402 699 1462
rect -53 13 7 73
rect 641 13 701 73
<< metal3 >>
rect -68 1462 12 1467
rect 629 1462 709 1467
rect -68 1402 -58 1462
rect 2 1402 639 1462
rect 699 1402 709 1462
rect -68 1397 12 1402
rect 629 1397 709 1402
rect -63 73 17 78
rect 631 73 711 78
rect -63 13 -53 73
rect 7 13 641 73
rect 701 13 711 73
rect -63 8 17 13
rect 631 8 711 13
use sky130_fd_pr__pfet_01v8_2ZH9AN  sky130_fd_pr__pfet_01v8_2ZH9AN_0
transform 1 0 21 0 1 1087
box -109 -262 109 262
use sky130_fd_pr__pfet_01v8_2ZH9AN  sky130_fd_pr__pfet_01v8_2ZH9AN_1
transform 1 0 21 0 1 -301
box -109 -262 109 262
use sky130_fd_pr__pfet_01v8_2ZH9AN  sky130_fd_pr__pfet_01v8_2ZH9AN_2
transform 1 0 625 0 1 -301
box -109 -262 109 262
use sky130_fd_pr__pfet_01v8_2ZH9AN  sky130_fd_pr__pfet_01v8_2ZH9AN_3
transform 1 0 625 0 1 393
box -109 -262 109 262
use sky130_fd_pr__pfet_01v8_2ZH9AN  sky130_fd_pr__pfet_01v8_2ZH9AN_4
transform 1 0 21 0 1 393
box -109 -262 109 262
use sky130_fd_pr__pfet_01v8_2ZH9AN  sky130_fd_pr__pfet_01v8_2ZH9AN_5
transform 1 0 625 0 1 1087
box -109 -262 109 262
use sky130_fd_pr__pfet_01v8_2ZH9AN  sky130_fd_pr__pfet_01v8_2ZH9AN_6
transform 1 0 21 0 1 1781
box -109 -262 109 262
use sky130_fd_pr__pfet_01v8_2ZH9AN  sky130_fd_pr__pfet_01v8_2ZH9AN_7
transform 1 0 625 0 1 1781
box -109 -262 109 262
use sky130_fd_pr__pfet_01v8_SDE6B7  sky130_fd_pr__pfet_01v8_SDE6B7_0
transform 1 0 323 0 1 1781
box -323 -300 323 300
use sky130_fd_pr__pfet_01v8_SDE6B7  sky130_fd_pr__pfet_01v8_SDE6B7_1
transform 1 0 323 0 1 1087
box -323 -300 323 300
use sky130_fd_pr__pfet_01v8_SDE6B7  sky130_fd_pr__pfet_01v8_SDE6B7_2
transform 1 0 323 0 1 393
box -323 -300 323 300
use sky130_fd_pr__pfet_01v8_SDE6B7  sky130_fd_pr__pfet_01v8_SDE6B7_3
transform 1 0 323 0 1 -301
box -323 -300 323 300
<< labels >>
flabel metal1 s 666 2076 666 2076 0 FreeSans 1600 0 0 0 VDD
port 0 nsew
flabel metal2 s 56 812 56 812 0 FreeSans 1600 0 0 0 D1
port 1 nsew
flabel metal1 s 580 842 580 842 0 FreeSans 1600 0 0 0 D2
port 2 nsew
flabel metal3 s 534 1434 534 1434 0 FreeSans 1600 0 0 0 D5
port 3 nsew
<< end >>

# cell sky130_fd_pr__pfet_01v8_2ZH9AN: kit device sky130_fd_pr__pfet_01v8, w 2 l 0.15 m 1 nf 1 diffcov 100 polycov 100 guard 0 glc 1 grc 1 gtc 1 gbc 1 tbcov 100 rlcov 100 topc 0 botc 0 poverlap 0 doverlap 1 lmin 0.15 wmin 0.42 compatible {sky130_fd_pr__pfet_01v8 sky130_fd_pr__pfet_01v8_lvt sky130_fd_pr__pfet_01v8_hvt sky130_fd_pr__pfet_g5v0d10v5} full_metal 1 viasrc 100 viadrn 100 viagate 100 viagb 0 viagr 0 viagl 0 viagt 0

# cell sky130_fd_pr__pfet_01v8_SDE6B7: kit device sky130_fd_pr__pfet_01v8, w 2 l 1 m 1 nf 2 diffcov 100 polycov 100 guard 0 glc 1 grc 1 gtc 1 gbc 1 tbcov 100 rlcov 100 topc 1 botc 1 poverlap 0 doverlap 1 lmin 0.15 wmin 0.42 compatible {sky130_fd_pr__pfet_01v8 sky130_fd_pr__pfet_01v8_lvt sky130_fd_pr__pfet_01v8_hvt sky130_fd_pr__pfet_g5v0d10v5} full_metal 1 viasrc 100 viadrn 100 viagate 70 viagb 0 viagr 0 viagl 0 viagt 0

# cell sky130_fd_pr__pfet_01v8_2XUZHN: kit device sky130_fd_pr__pfet_01v8, w 1 l 0.15 m 1 nf 1 diffcov 100 polycov 100 guard 0 glc 1 grc 1 gtc 1 gbc 1 tbcov 100 rlcov 100 topc 0 botc 0 poverlap 0 doverlap 1 lmin 0.15 wmin 0.42 compatible {sky130_fd_pr__pfet_01v8 sky130_fd_pr__pfet_01v8_lvt sky130_fd_pr__pfet_01v8_hvt sky130_fd_pr__pfet_g5v0d10v5} full_metal 1 viasrc 100 viadrn 100 viagate 100 viagb 0 viagr 0 viagl 0 viagt 0

# cell sky130_fd_pr__pfet_01v8_BHVYY6: kit device sky130_fd_pr__pfet_01v8, w 1 l 0.5 m 1 nf 2 diffcov 100 polycov 100 guard 0 glc 1 grc 1 gtc 1 gbc 1 tbcov 100 rlcov 100 topc 1 botc 1 poverlap 0 doverlap 1 lmin 0.15 wmin 0.42 compatible {sky130_fd_pr__pfet_01v8 sky130_fd_pr__pfet_01v8_lvt sky130_fd_pr__pfet_01v8_hvt sky130_fd_pr__pfet_g5v0d10v5} full_metal 1 viasrc 100 viadrn 100 viagate 100 viagb 0 viagr 0 viagl 0 viagt 0

# cell sky130_fd_pr__nfet_01v8_8UMB6F: kit device sky130_fd_pr__nfet_01v8, w 2 l 1 m 1 nf 2 diffcov 100 polycov 100 guard 0 glc 1 grc 1 gtc 1 gbc 1 tbcov 100 rlcov 100 topc 1 botc 1 poverlap 0 doverlap 0 lmin 0.15 wmin 0.42 compatible {sky130_fd_pr__nfet_01v8 sky130_fd_pr__nfet_01v8_lvt sky130_fd_bs_flash__special_sonosfet_star sky130_fd_pr__nfet_g5v0d10v5 sky130_fd_pr__nfet_05v0_nvt sky130_fd_pr__nfet_03v3_nvt} full_metal 1 viasrc 100 viadrn 100 viagate 70 viagb 0 viagr 0 viagl 0 viagt 0

# cell sky130_fd_pr__nfet_01v8_TC9PLT: kit device sky130_fd_pr__nfet_01v8, w 2 l 0.150 m 1 nf 1 diffcov 100 polycov 100 guard 0 glc 1 grc 1 gtc 1 gbc 1 tbcov 100 rlcov 100 topc 0 botc 0 poverlap 0 doverlap 1 lmin 0.15 wmin 0.42 compatible {sky130_fd_pr__nfet_01v8 sky130_fd_pr__nfet_01v8_lvt sky130_fd_bs_flash__special_sonosfet_star sky130_fd_pr__nfet_g5v0d10v5 sky130_fd_pr__nfet_05v0_nvt sky130_fd_pr__nfet_03v3_nvt} full_metal 1 viasrc 100 viadrn 100 viagate 100 viagb 0 viagr 0 viagl 0 viagt 0

# cell sky130_fd_pr__nfet_01v8_6H9P4D: kit device sky130_fd_pr__nfet_01v8, w 1 l 0.150 m 1 nf 1 diffcov 100 polycov 100 guard 0 glc 1 grc 1 gtc 1 gbc 1 tbcov 100 rlcov 100 topc 0 botc 0 poverlap 0 doverlap 1 lmin 0.15 wmin 0.42 compatible {sky130_fd_pr__nfet_01v8 sky130_fd_pr__nfet_01v8_lvt sky130_fd_bs_flash__special_sonosfet_star sky130_fd_pr__nfet_g5v0d10v5 sky130_fd_pr__nfet_05v0_nvt sky130_fd_pr__nfet_03v3_nvt} full_metal 1 viasrc 100 viadrn 100 viagate 100 viagb 0 viagr 0 viagl 0 viagt 0

# cell sky130_fd_pr__nfet_01v8_DB328X: kit device sky130_fd_pr__nfet_01v8, w 1 l 0.8 m 1 nf 4 diffcov 100 polycov 100 guard 0 glc 1 grc 1 gtc 1 gbc 1 tbcov 100 rlcov 100 topc 1 botc 1 poverlap 0 doverlap 0 lmin 0.15 wmin 0.42 compatible {sky130_fd_pr__nfet_01v8 sky130_fd_pr__nfet_01v8_lvt sky130_fd_bs_flash__special_sonosfet_star sky130_fd_pr__nfet_g5v0d10v5 sky130_fd_pr__nfet_05v0_nvt sky130_fd_pr__nfet_03v3_nvt} full_metal 1 viasrc 100 viadrn 100 viagate 100 viagb 0 viagr 0 viagl 0 viagt 0
